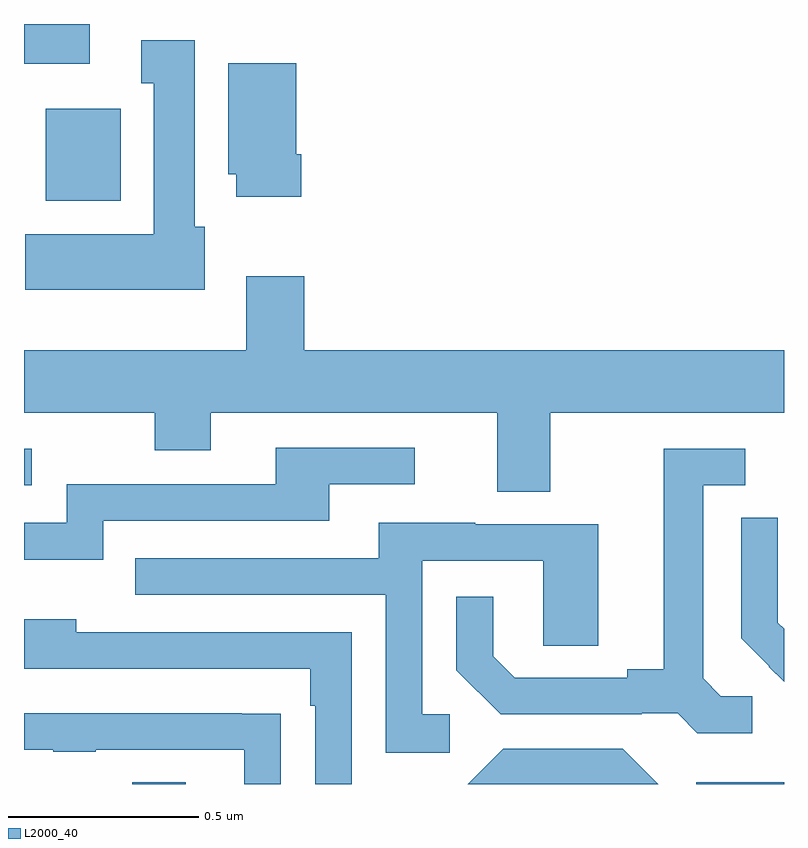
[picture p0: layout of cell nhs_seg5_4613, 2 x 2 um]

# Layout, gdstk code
import gdstk
lib = gdstk.Library(unit=1e-6, precision=1e-09)
def R(c, l, rs):  # rectangles x0, y0, x1, y1
    for r in rs: c.add(gdstk.rectangle(r[:2], r[2:], *l))
def P(c, l, *ps):  # polygons
    for p in ps: c.add(gdstk.Polygon(p, *l))
L2000_40 = (2000, 40)

nhs_seg5_4613 = lib.new_cell('nhs_seg5_4613')
R(nhs_seg5_4613, L2000_40, [(173.285,839.799,173.425,839.803), (174.769,839.799,175,839.803), (173,840.585,173.02,840.681), (173.057,841.334,173.254,841.576), (173,841.694,173.173,841.799)])
P(nhs_seg5_4613, L2000_40, [(173.476,841.266),(173.449,841.266),(173.449,841.756),(173.309,841.756),(173.309,841.643),(173.342,841.643),(173.342,841.246),(173.003,841.246),(173.003,841.1),(173.476,841.1)],
  [(173.729,841.456),(173.716,841.456),(173.716,841.696),(173.537,841.696),(173.537,841.404),(173.558,841.404),(173.558,841.344),(173.729,841.344)],
  [(174.385,840.776),(175,840.776),(175,840.94),(173.738,840.94),(173.738,841.135),(173.585,841.135),(173.585,840.94),(173,840.94),(173,840.776),(173.344,840.776),(173.344,840.677),(173.491,840.677),(173.491,840.776),(174.245,840.776),(174.245,840.568),(174.385,840.568)],
  [(173.208,840.492),(173.803,840.492),(173.803,840.588),(174.028,840.588),(174.028,840.684),(173.663,840.684),(173.663,840.588),(173.112,840.588),(173.112,840.486),(173,840.486),(173,840.389),(173.208,840.389)],
  [(174.916,840.03),(174.834,840.03),(174.787,840.077),(174.787,840.585),(174.898,840.585),(174.898,840.681),(174.683,840.681),(174.683,840.101),(174.587,840.101),(174.587,840.078),(174.292,840.078),(174.235,840.135),(174.235,840.292),(174.138,840.292),(174.138,840.098),(174.254,839.982),(174.626,839.982),(174.626,839.985),(174.72,839.985),(174.772,839.933),(174.916,839.933)],
  [(175,840.207),(174.983,840.224),(174.983,840.346),(174.984,840.346),(174.984,840.5),(174.888,840.5),(174.888,840.182),(174.961,840.109),(174.96,840.108),(175,840.068)],
  [(174.121,839.982),(174.048,839.982),(174.048,840.387),(174.366,840.387),(174.366,840.163),(174.511,840.163),(174.511,840.483),(174.187,840.483),(174.187,840.487),(173.933,840.487),(173.933,840.393),(173.293,840.393),(173.293,840.297),(173.952,840.297),(173.952,839.881),(174.121,839.881)],
  [(173.862,840.198),(173.138,840.198),(173.138,840.232),(173,840.232),(173,840.102),(173.753,840.102),(173.753,840.005),(173.766,840.005),(173.766,839.799),(173.862,839.799)],
  [(173.675,839.984),(173.573,839.984),(173.573,839.985),(173,839.985),(173,839.889),(173.077,839.889),(173.077,839.884),(173.189,839.884),(173.189,839.889),(173.579,839.889),(173.579,839.799),(173.675,839.799)],
  [(174.261,839.892),(174.168,839.799),(174.669,839.799),(174.576,839.892)])

lib.write_gds('nhs_seg5_4613.gds')
